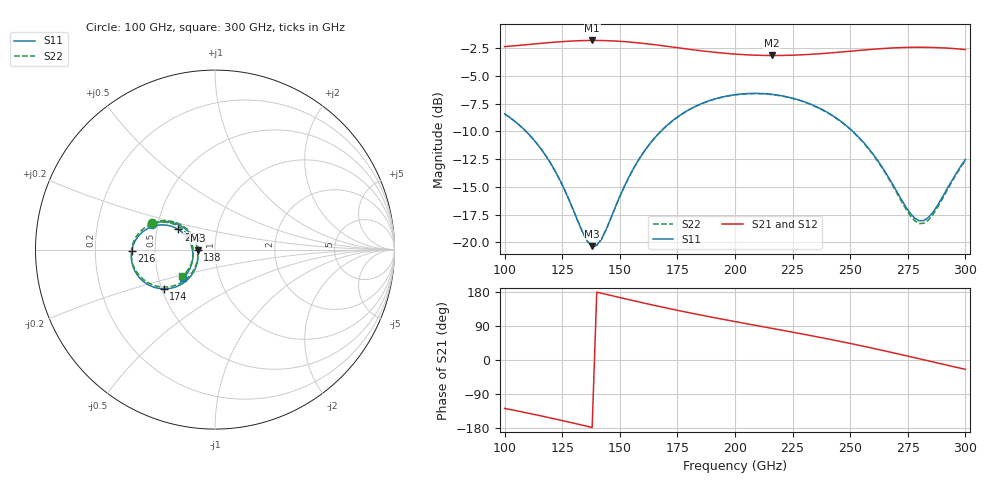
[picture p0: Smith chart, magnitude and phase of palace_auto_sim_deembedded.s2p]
! Created with skrf 1.11.0 (http://scikit-rf.org).
# GHz S DB R 50.0
!freq dBS11 angS11 dBS21 angS21 dBS12 angS12 dBS22 angS22
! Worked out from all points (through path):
!   101 points, 100 GHz to 300 GHz, reference 50 ohm
!   highest |S21| = -1.82 dB at 138 GHz (marker M1); lowest = -3.2 dB at 216 GHz (marker M2)
!   group delay of S21, straight-line fit = 3.49 ps
!   lowest |S11| = -20.3 dB at 138 GHz (marker M3), VSWR 1.21, Z = 41.2 - j0.328 ohm
!   |S11| at or under -10 dB: 109.3 GHz to 167.8 GHz (58.49 GHz wide, 42.2 % of centre); 251.1 GHz to end of sweep
!   |S22| runs from -20.3 to -6.6 dB; largest |S21 - S12| = 9e-14
!   S11 on the Smith chart (normalised r, x): 100 GHz: 0.46, +0.15; 138 GHz: 0.82, -0.01; 174 GHz: 0.51, -0.26; 216 GHz: 0.37, -0.01; 262 GHz: 0.65, +0.15; 300 GHz: 0.67, -0.22
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100  -8.42 158.1  -2.37 -127.8  -2.37 -127.8  -8.43 156.9
110  -10.15 150.1  -2.19 -140.0  -2.19 -140.0  -10.16 148.8
118  -12.23 145.7  -2.03 -150.4  -2.03 -150.4  -12.24 144.3
126  -15.25 146.4  -1.91 -161.2  -1.91 -161.2  -15.26 144.9
134  -19.14 162.8  -1.83 -172.4  -1.83 -172.4  -19.15 161.3
138  -20.33 -177.7  -1.82 -178.1  -1.82 -178.1  -20.34 -179.3
142  -19.72 -156.2  -1.82 176.2  -1.82 176.2  -19.73 -157.9
152  -14.94 -133.3  -1.92 162.0  -1.92 162.0  -14.96 -135.0
160  -11.98 -133.2  -2.08 150.9  -2.08 150.9  -11.99 -135.1
168  -9.95 -137.9  -2.28 140.2  -2.28 140.2  -9.96 -139.9
174  -8.86 -142.6  -2.44 132.4  -2.44 132.4  -8.88 -144.6
186  -7.46 -153.0  -2.76 117.7  -2.76 117.7  -7.47 -155.2
200  -6.70 -165.3  -3.04 101.4  -3.04 101.4  -6.72 -167.7
216  -6.67 -179.0  -3.17 83.5  -3.17 83.5  -6.69 178.4
234  -7.65 166.2  -3.05 63.0  -3.05 63.0  -7.68 163.3
250  -9.78 154.9  -2.79 43.6  -2.79 43.6  -9.82 151.7
262  -12.64 151.2  -2.58 28.0  -2.58 28.0  -12.71 147.7
268  -14.61 154.0  -2.50 19.9  -2.50 19.9  -14.72 150.3
276  -17.35 169.2  -2.44 8.8  -2.44 8.8  -17.57 165.7
282  -18.03 -169.1  -2.43 0.4  -2.43 0.4  -18.27 -172.1
286  -17.26 -155.5  -2.45 -5.2  -2.45 -5.2  -17.47 -158.0
300  -12.53 -138.4  -2.64 -24.6  -2.64 -24.6  -12.60 -141.0
